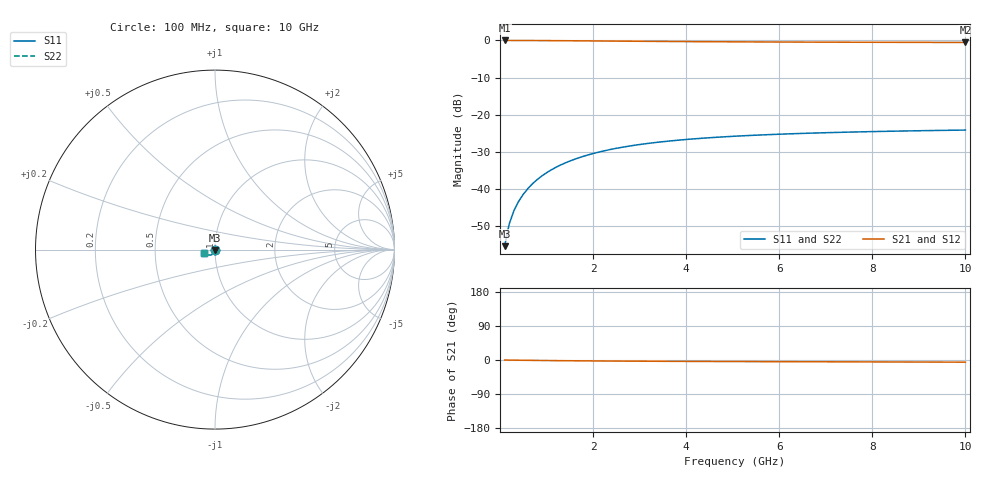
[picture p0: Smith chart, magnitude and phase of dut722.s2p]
! Touchstone file exported from HFSS 2024.1.0
!  File:  C:/UserFiles/LocalFiles/RDL_TSV_Batchsim/temp_TSV1_722_1779868369.aedt
!  Generated:  03:58:44 PM May 27, 2026
!  Design:  TSV1
!  Project:  temp_TSV1_722_1779868369
!  Setup:  Setup1
!  Solution:  Sweep
! Variables:
!  dtsv = 12.36um
!  hbump = 3um
!  htsv = 88.69um
!  lrdl = 252.1521522um
!  p = 40
!  p1 = 46.46um
!  t = 500um
!  trdl = 3um
!  wrdl = 24.89489489um
# GHz S MA R 50.000000
! Terminal data exported
! Port[1] = TSV22_T1
! Port[2] = TSV22_T2
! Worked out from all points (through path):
!   100 points, 100 MHz to 10 GHz, reference 50 ohm
!   highest |S21| = 0.00 dB at 100 MHz (marker M1); lowest = -0.5 dB at 10 GHz (marker M2)
!   lowest |S11| = -55.3 dB at 100 MHz (marker M3), VSWR 1.00, Z = 50 - j0.171 ohm
!   |S11| at or under -10 dB: start of sweep to end of sweep
!   |S22| runs from -55.3 to -24.1 dB; largest |S21 - S12| = 5.7e-15
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0.1  0.001711 -88.1  0.9998 -0.1  0.9998 -0.1  0.001711 -88.1
! Gamma 0 0 0 0
! Port Impedance 50 0 50 0
0.2  0.003418 -91.3  0.9997 -0.3  0.9997 -0.3  0.003418 -91.3
0.3  0.005125 -93.4  0.9994 -0.4  0.9994 -0.4  0.005125 -93.4
0.4  0.006825 -95.3  0.9991 -0.6  0.9991 -0.6  0.006825 -95.3
0.5  0.008513 -97.1  0.9986 -0.7  0.9986 -0.7  0.008513 -97.0
0.6  0.01018 -98.8  0.9981 -0.9  0.9981 -0.9  0.01018 -98.8
0.7  0.01183 -100.4  0.9975 -1.0  0.9975 -1.0  0.01183 -100.4
0.8  0.01345 -102.1  0.9969 -1.1  0.9969 -1.1  0.01345 -102.1
0.9  0.01504 -103.7  0.9961 -1.3  0.9961 -1.3  0.01504 -103.7
1.1  0.01813 -106.8  0.9945 -1.5  0.9945 -1.5  0.01813 -106.8
1.4  0.02249 -111.2  0.9917 -1.8  0.9917 -1.8  0.02249 -111.2
1.6  0.0252 -114.0  0.9896 -2.1  0.9896 -2.1  0.0252 -114.0
1.8  0.02774 -116.6  0.9875 -2.3  0.9875 -2.3  0.02774 -116.6
2.1  0.03126 -120.4  0.9842 -2.5  0.9842 -2.5  0.03126 -120.4
2.5  0.03541 -124.9  0.9798 -2.8  0.9798 -2.8  0.03541 -124.9
2.9  0.03901 -129.0  0.9756 -3.1  0.9756 -3.1  0.03901 -129.0
3.4  0.04281 -133.5  0.9708 -3.4  0.9708 -3.4  0.04281 -133.5
4.2  0.04765 -139.7  0.964 -3.7  0.964 -3.7  0.04765 -139.7
5.1  0.05173 -145.3  0.9579 -4.1  0.9579 -4.1  0.05173 -145.3
6.7  0.05672 -153.0  0.9498 -4.6  0.9498 -4.6  0.05672 -153.0
8.4  0.06013 -159.1  0.9439 -5.2  0.9439 -5.2  0.06014 -159.1
10  0.06232 -163.8  0.94 -5.7  0.94 -5.7  0.06232 -163.8
